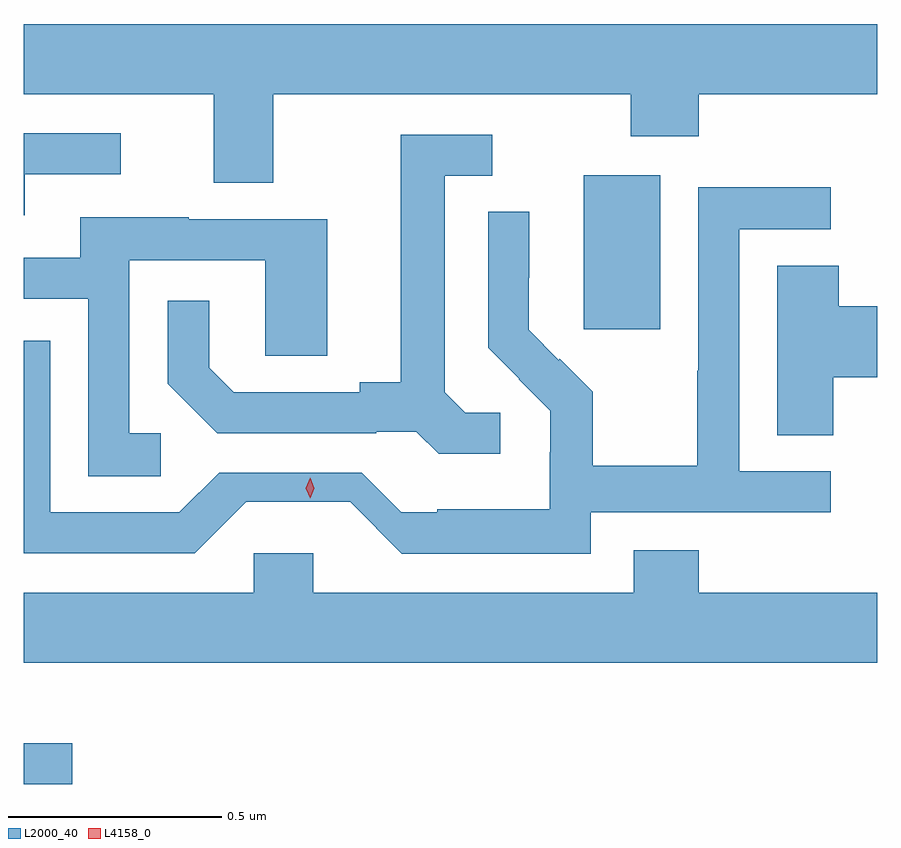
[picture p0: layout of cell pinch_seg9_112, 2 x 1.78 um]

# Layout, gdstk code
import gdstk
lib = gdstk.Library(unit=1e-6, precision=1e-09)
def R(c, l, rs):  # rectangles x0, y0, x1, y1
    for r in rs: c.add(gdstk.rectangle(r[:2], r[2:], *l))
def P(c, l, *ps):  # polygons
    for p in ps: c.add(gdstk.Polygon(p, *l))
L2000_40 = (2000, 40)
L4158_0 = (4158, 0)

pinch_seg9_112 = lib.new_cell('pinch_seg9_112')
R(pinch_seg9_112, L2000_40, [(1145.716,1196.136,1145.83,1196.232), (1147.028,1197.201,1147.207,1197.562)])
P(pinch_seg9_112, L2000_40, [(1146.301,1197.752),(1147.138,1197.752),(1147.138,1197.653),(1147.298,1197.653),(1147.298,1197.752),(1147.716,1197.752),(1147.716,1197.916),(1145.716,1197.916),(1145.716,1197.752),(1146.161,1197.752),(1146.161,1197.544),(1146.301,1197.544)],
  [(1145.719,1197.564),(1145.944,1197.564),(1145.944,1197.66),(1145.716,1197.66),(1145.716,1197.468),(1145.719,1197.468)],
  [(1146.832,1197.006),(1146.75,1197.006),(1146.703,1197.053),(1146.703,1197.561),(1146.814,1197.561),(1146.814,1197.657),(1146.599,1197.657),(1146.599,1197.077),(1146.503,1197.077),(1146.503,1197.054),(1146.208,1197.054),(1146.151,1197.111),(1146.151,1197.268),(1146.054,1197.268),(1146.054,1197.074),(1146.17,1196.958),(1146.542,1196.958),(1146.542,1196.961),(1146.636,1196.961),(1146.688,1196.909),(1146.832,1196.909)],
  [(1147.044,1196.772),(1147.606,1196.772),(1147.606,1196.868),(1147.392,1196.868),(1147.392,1197.435),(1147.606,1197.435),(1147.606,1197.534),(1147.296,1197.534),(1147.296,1197.104),(1147.294,1197.104),(1147.294,1196.881),(1147.049,1196.881),(1147.049,1197.055),(1146.972,1197.132),(1146.969,1197.129),(1146.899,1197.2),(1146.899,1197.322),(1146.9,1197.322),(1146.9,1197.476),(1146.804,1197.476),(1146.804,1197.158),(1146.877,1197.085),(1146.876,1197.084),(1146.95,1197.01),(1146.95,1196.913),(1146.948,1196.913),(1146.948,1196.779),(1146.685,1196.779),(1146.685,1196.772),(1146.601,1196.772),(1146.508,1196.865),(1146.174,1196.865),(1146.081,1196.772),(1145.778,1196.772),(1145.778,1197.174),(1145.716,1197.174),(1145.716,1196.676),(1146.117,1196.676),(1146.238,1196.797),(1146.481,1196.797),(1146.602,1196.675),(1147.044,1196.675)],
  [(1146.037,1196.958),(1145.964,1196.958),(1145.964,1197.363),(1146.282,1197.363),(1146.282,1197.139),(1146.427,1197.139),(1146.427,1197.459),(1146.103,1197.459),(1146.103,1197.463),(1145.849,1197.463),(1145.849,1197.369),(1145.716,1197.369),(1145.716,1197.273),(1145.868,1197.273),(1145.868,1196.857),(1146.037,1196.857)],
  [(1147.612,1197.089),(1147.716,1197.089),(1147.716,1197.255),(1147.625,1197.255),(1147.625,1197.35),(1147.481,1197.35),(1147.481,1196.953),(1147.612,1196.953)],
  [(1147.716,1196.584),(1147.298,1196.584),(1147.298,1196.683),(1147.145,1196.683),(1147.145,1196.584),(1146.394,1196.584),(1146.394,1196.677),(1146.255,1196.677),(1146.255,1196.584),(1145.716,1196.584),(1145.716,1196.42),(1147.716,1196.42)])
P(pinch_seg9_112, L4158_0, [(1146.387,1196.805),(1146.387,1196.805),(1146.377,1196.829),(1146.387,1196.853),(1146.387,1196.853),(1146.387,1196.853),(1146.397,1196.829),(1146.387,1196.805)])

lib.write_gds('pinch_seg9_112.gds')
